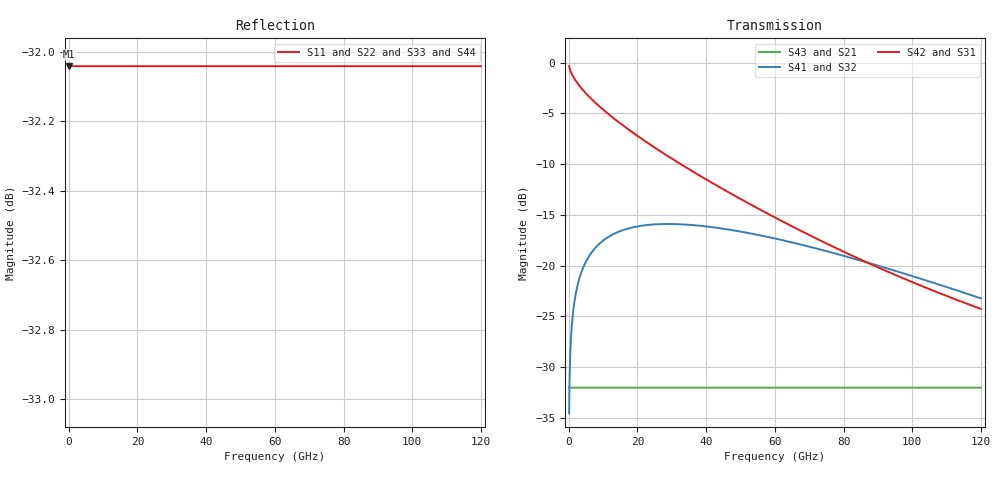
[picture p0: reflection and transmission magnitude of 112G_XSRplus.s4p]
! Created with skrf 1.12.0 (http://scikit-rf.org).
# Hz S RI R 50.0
!freq ReS11 ImS11 ReS12 ImS12 ReS13 ImS13
! ReS14 ImS14
! ReS21 ImS21 ReS22 ImS22 ReS23 ImS23
! ReS24 ImS24
! ReS31 ImS31 ReS32 ImS32 ReS33 ImS33
! ReS34 ImS34
! ReS41 ImS41 ReS42 ImS42 ReS43 ImS43
! ReS44 ImS44
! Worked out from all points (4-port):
!   1200 points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, 100 MHz to 120 GHz, reference 50 ohm
!   strongest paths, dB at 100 MHz, 30.1 GHz, 60.1 GHz, 90.1 GHz, 120 GHz:
!     S42: -0.4, -9.5, -15.3, -20.2, -24.3
!     S31: -0.4, -9.5, -15.3, -20.2, -24.3
!     S41: -34.6, -15.9, -17.3, -20.0, -23.2
!     S32: -34.6, -15.9, -17.3, -20.0, -23.2
!     S43: -32.0, -32.0, -32.0, -32.0, -32.0
!     S21: -32.0, -32.0, -32.0, -32.0, -32.0
!   lowest |S11| = -32.0 dB at 100 MHz (marker M1), VSWR 1.05, Z = 52.6 + j0 ohm
!   |S11| at or under -10 dB: start of sweep to end of sweep
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1e8  0.025 0  -0.025 0  0.9528 -0.118  0.0158 0.01
     -0.025 0  0.025 0  0.0158 0.01  0.9528 -0.118
     0.9528 -0.118  0.0158 0.01  0.025 0  -0.025 0
     0.0158 0.01  0.9528 -0.118  -0.025 0  0.025 0
3.3e9  0.025 0  -0.025 0  -0.7605 -0.023  -0.0763 -0.0454
       -0.025 0  0.025 0  -0.0763 -0.0454  -0.7605 -0.023
       -0.7605 -0.023  -0.0763 -0.0454  0.025 0  -0.025 0
       -0.0763 -0.0454  -0.7605 -0.023  -0.025 0  0.025 0
6.7e9  0.025 0  -0.025 0  0.6581 0.0372  0.1 0.0593
       -0.025 0  0.025 0  0.1 0.0593  0.6581 0.0372
       0.6581 0.0372  0.1 0.0593  0.025 0  -0.025 0
       0.1 0.0593  0.6581 0.0372  -0.025 0  0.025 0
1.01e10  0.025 0  -0.025 0  -0.5822 -0.0519  -0.1127 -0.0708
         -0.025 0  0.025 0  -0.1127 -0.0708  -0.5822 -0.0519
         -0.5822 -0.0519  -0.1127 -0.0708  0.025 0  -0.025 0
         -0.1127 -0.0708  -0.5822 -0.0519  -0.025 0  0.025 0
1.36e10  0.025 0  -0.025 0  0.5228 0.0165  0.1265 0.0696
         -0.025 0  0.025 0  0.1265 0.0696  0.5228 0.0165
         0.5228 0.0165  0.1265 0.0696  0.025 0  -0.025 0
         0.1265 0.0696  0.5228 0.0165  -0.025 0  0.025 0
1.7e10  0.025 0  -0.025 0  -0.4723 -0.0312  -0.1301 -0.0779
        -0.025 0  0.025 0  -0.1301 -0.0779  -0.4723 -0.0312
        -0.4723 -0.0312  -0.1301 -0.0779  0.025 0  -0.025 0
        -0.1301 -0.0779  -0.4723 -0.0312  -0.025 0  0.025 0
1.2e11  0.025 0  -0.025 0  -0.0597 -0.013  -0.0646 -0.0239
        -0.025 0  0.025 0  -0.0646 -0.0239  -0.0597 -0.013
        -0.0597 -0.013  -0.0646 -0.0239  0.025 0  -0.025 0
        -0.0646 -0.0239  -0.0597 -0.013  -0.025 0  0.025 0
